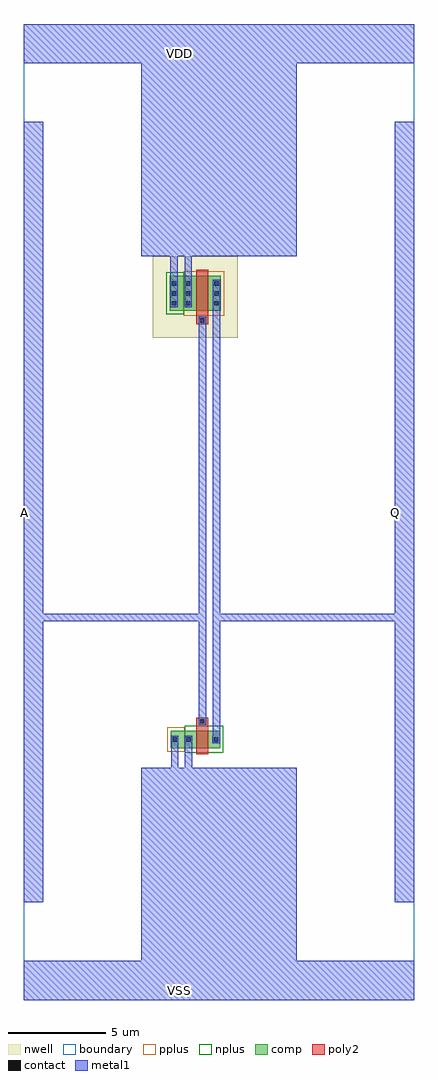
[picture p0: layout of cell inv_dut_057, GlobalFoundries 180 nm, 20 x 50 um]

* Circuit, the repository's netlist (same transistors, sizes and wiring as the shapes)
* inv_dut_057: pfet_03v3 W=1.80u L=0.60u / nfet_03v3 W=0.90u L=0.60u
.SUBCKT inv_dut_057 A Q VDD VSS
MMP Q A VDD VDD pfet_03v3 W=1.80u L=0.60u
MMN Q A VSS VSS nfet_03v3 W=0.90u L=0.60u
.ENDS

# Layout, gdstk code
import gdstk
lib = gdstk.Library(unit=1e-6, precision=1e-09)
def R(c, l, rs):  # rectangles x0, y0, x1, y1
    for r in rs: c.add(gdstk.rectangle(r[:2], r[2:], *l))
def A(c, l, x, y, w, h, nx, ny, dx, dy):  # array of equal rectangles
    R(c, l, [(x+i*dx, y+j*dy, x+i*dx+w, y+j*dy+h) for i in range(nx) for j in range(ny)])
boundary = (0, 0)
nwell = (21, 0)
comp = (22, 0)
poly2 = (30, 0)
pplus = (31, 0)
nplus = (32, 0)
contact = (33, 0)
metal1 = (34, 0)

inv_dut_057 = lib.new_cell('inv_dut_057')
R(inv_dut_057, boundary, [(-10,-25,10,25)])
R(inv_dut_057, nwell, [(-3.395,8.93,0.955,13.09)])
R(inv_dut_057, comp, [(-2.475,-12.1,0.055,-11.2), (-2.535,10.3,0.095,12.1)])
R(inv_dut_057, poly2, [(-1.155,-12.4,-0.555,-10.54), (-1.155,9.62,-0.555,12.4)])
R(inv_dut_057, pplus, [(-2.645,-12.27,-1.765,-11.03), (-1.805,10.06,0.265,12.34)])
R(inv_dut_057, nplus, [(-1.765,-12.34,0.225,-10.96), (-2.705,10.13,-1.805,12.27)])
A(inv_dut_057, contact, -2.415, 10.58, 0.22, 0.22, 1, 3, 0, 0.51)
A(inv_dut_057, contact, -1.685, 10.58, 0.22, 0.22, 1, 3, 0, 0.51)
A(inv_dut_057, contact, -0.245, 10.58, 0.22, 0.22, 1, 3, 0, 0.51)
R(inv_dut_057, contact, [(-2.375,-11.76,-2.155,-11.54), (-1.665,-11.76,-1.445,-11.54), (-0.265,-11.76,-0.045,-11.54), (-0.965,-10.83,-0.745,-10.61), (-0.965,9.7,-0.745,9.92)])
R(inv_dut_057, metal1, [(-10,-25,10,-23), (-3.995,-23,3.995,-13.4), (-10,-20,-9,20), (9,-20,10,20), (-3.995,-13.7,3.995,-13.1), (-2.455,-13.7,-2.075,-11.46), (-1.745,-13.7,-1.365,-11.46), (-2.455,-11.84,-2.075,-11.46), (-1.745,-11.84,-1.365,-11.46), (-0.345,-11.84,0.055,-11.46), (-0.345,-11.84,0.035,-11.46), (-0.325,-11.84,0.055,10.88), (-1.045,-10.91,-0.665,10), (-1.045,-10.91,-0.665,-10.53), (-9,-5.6,-3.695,-5.2), (-3.995,-5.6,-0.665,-5.2), (-0.325,-5.6,3.995,-5.2), (3.695,-5.6,9,-5.2), (-1.045,9.62,-0.665,10), (-2.495,10.5,-2.115,13.7), (-2.495,10.5,-2.115,11.9), (-1.765,10.5,-1.385,13.7), (-1.765,10.5,-1.385,11.9), (-0.325,10.5,0.055,10.88), (-0.325,10.5,0.055,11.9), (-3.995,13.1,3.995,13.7), (-3.995,13.4,3.995,23), (-10,23,10,25)])
inv_dut_057.add(gdstk.Label('VDD', (-2,23.5), layer=34, texttype=10))
inv_dut_057.add(gdstk.Label('VSS', (-2,-24.5), layer=34, texttype=10))
inv_dut_057.add(gdstk.Label('A', (-9.97,0), layer=34, texttype=10))
inv_dut_057.add(gdstk.Label('Q', (9.03,0), layer=34, texttype=10))

lib.write_gds('inv_dut_057.gds')
